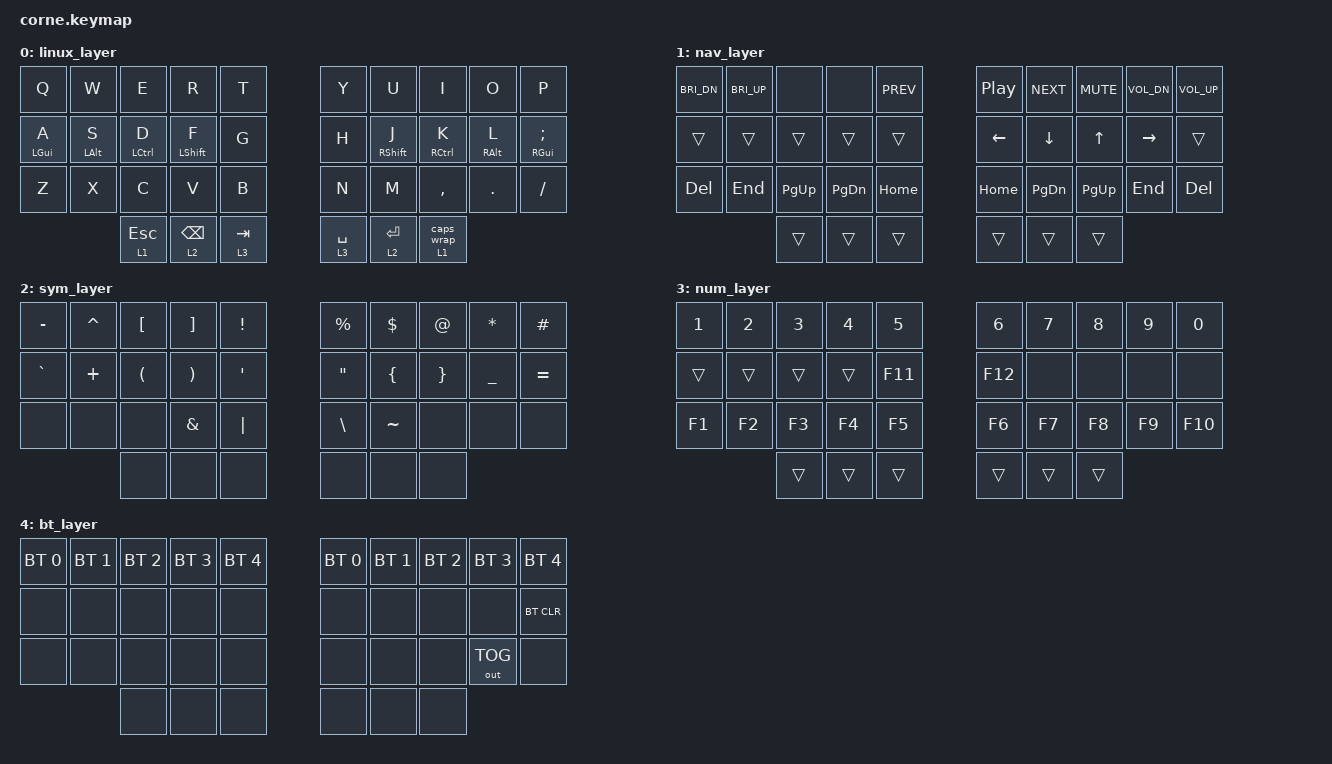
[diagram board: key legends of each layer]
/*
 * Copyright (c) 2020 The ZMK Contributors
 *
 * SPDX-License-Identifier: MIT
 */

#include <behaviors.dtsi>
#include <dt-bindings/zmk/keys.h>
#include <dt-bindings/zmk/bt.h>
#include <dt-bindings/zmk/outputs.h>

/ {
    chosen {
        zmk,matrix-transform = &five_column_transform;
    };

    behaviors {
        /*
         * Home-row modifiers
         * Hold = modifier
         * Tap  = normal key
         */
        hm: homerow_mods {
            compatible = "zmk,behavior-hold-tap";
            label = "HOMEROW_MODS";
            #binding-cells = <2>;
            tapping-term-ms = <200>;
            quick-tap-ms = <175>;
            flavor = "tap-preferred";
            bindings = <&kp>, <&kp>;
        };

        /*
         * Layer-tap for Space/Tab
         */
        lt_spc: layer_tap_space {
            compatible = "zmk,behavior-hold-tap";
            label = "LAYER_TAP_SPACE";
            #binding-cells = <2>;
            tapping-term-ms = <200>;
            quick-tap-ms = <175>;
            flavor = "tap-preferred";
            bindings = <&mo>, <&kp>;
        };

        /*
         * Balanced layer-tap for thumb keys
         */
        lt_bal: layer_tap_balanced {
            compatible = "zmk,behavior-hold-tap";
            label = "LAYER_TAP_BALANCED";
            #binding-cells = <2>;
            tapping-term-ms = <200>;
            quick-tap-ms = <175>;
            flavor = "balanced";
            bindings = <&mo>, <&kp>;
        };

        /*
         * Hold = Nav layer
         * Tap  = Caps Word
         */
        ht_caps: hold_tap_caps_word {
            compatible = "zmk,behavior-hold-tap";
            label = "HOLD_TAP_CAPS_WORD";
            #binding-cells = <2>;
            tapping-term-ms = <200>;
            quick-tap-ms = <175>;
            flavor = "balanced";
            bindings = <&mo>, <&caps_wrap>;
        };
    };

    macros {
        caps_wrap: caps_wrap {
            compatible = "zmk,behavior-macro-one-param";
            #binding-cells = <1>;
            bindings = <&caps_word>;
        };
    };

    combos {
        compatible = "zmk,combos";

        /*
         * Press the two outermost thumb keys together
         * to access the Bluetooth layer.
         */
        combo_bt_layer {
            timeout-ms = <50>;
            key-positions = <30 35>;
            bindings = <&mo 4>;
        };
    };

    keymap {
        compatible = "zmk,keymap";

        /*
         * Layer 0: Linux / Arch
         *
         * This is exactly your current working Linux layout.
         */
        linux_layer {
            bindings = <
            &kp Q        &kp W        &kp E        &kp R         &kp T           &kp Y        &kp U         &kp I       &kp O        &kp P
            &hm LGUI A   &hm LALT S   &hm LCTRL D  &hm LSHFT F   &kp G           &kp H        &hm RSHFT J   &hm RCTRL K  &hm RALT L   &hm RGUI SEMI
            &kp Z        &kp X        &kp C        &kp V         &kp B           &kp N        &kp M         &kp COMMA   &kp DOT      &kp FSLH
                                      &lt_bal 1 ESC &lt_bal 2 BSPC &lt_spc 3 TAB &lt_spc 3 SPACE &lt_bal 2 RET &ht_caps 1 0
            >;
        };

        /*
         * Layer 1: Navigation
         */
        nav_layer {
            bindings = <
            &kp C_BRI_DN &kp C_BRI_UP &none       &none         &kp C_PREV      &kp C_PP     &kp C_NEXT    &kp C_MUTE  &kp C_VOL_DN &kp C_VOL_UP
            &trans       &trans       &trans       &trans        &trans          &kp LEFT     &kp DOWN      &kp UP      &kp RIGHT    &trans
            &kp DEL      &kp END      &kp PG_UP    &kp PG_DN     &kp HOME        &kp HOME     &kp PG_DN     &kp PG_UP   &kp END      &kp DEL
                                      &trans       &trans        &trans          &trans       &trans        &trans
            >;
        };

        /*
         * Layer 2: Symbols
         */
        sym_layer {
            bindings = <
            &kp MINUS    &kp CARET    &kp LBKT    &kp RBKT      &kp EXCL        &kp PRCNT    &kp DLLR      &kp AT      &kp STAR     &kp HASH
            &kp GRAVE    &kp PLUS     &kp LPAR    &kp RPAR      &kp SQT         &kp DQT      &kp LBRC      &kp RBRC    &kp UNDER    &kp EQUAL
            &none        &none        &none       &kp AMPS      &kp PIPE        &kp BSLH     &kp TILDE     &none       &none        &none
                                      &none       &none         &none           &none        &none         &none
            >;
        };

        /*
         * Layer 3: Numbers / Function keys
         */
        num_layer {
            bindings = <
            &kp N1       &kp N2       &kp N3      &kp N4        &kp N5          &kp N6       &kp N7        &kp N8      &kp N9       &kp N0
            &trans       &trans       &trans       &trans        &kp F11         &kp F12      &none         &none       &none        &none
            &kp F1       &kp F2       &kp F3      &kp F4        &kp F5          &kp F6       &kp F7        &kp F8      &kp F9       &kp F10
                                      &trans      &trans        &trans          &trans       &trans        &trans
            >;
        };

        /*
         * Layer 4: Bluetooth
         *
         * All five profiles now use the same Linux keymap.
         * Selecting a Bluetooth profile no longer changes
         * the base layer.
         */
        bt_layer {
            bindings = <
            &bt BT_SEL 0 &bt BT_SEL 1 &bt BT_SEL 2 &bt BT_SEL 3 &bt BT_SEL 4    &bt BT_SEL 0 &bt BT_SEL 1 &bt BT_SEL 2 &bt BT_SEL 3 &bt BT_SEL 4
            &none        &none        &none        &none        &none           &none        &none        &none        &none        &bt BT_CLR
            &none        &none        &none        &none        &none           &none        &none        &none        &out OUT_TOG &none
                                      &none        &none        &none           &none        &none        &none
            >;
        };
    };
};
